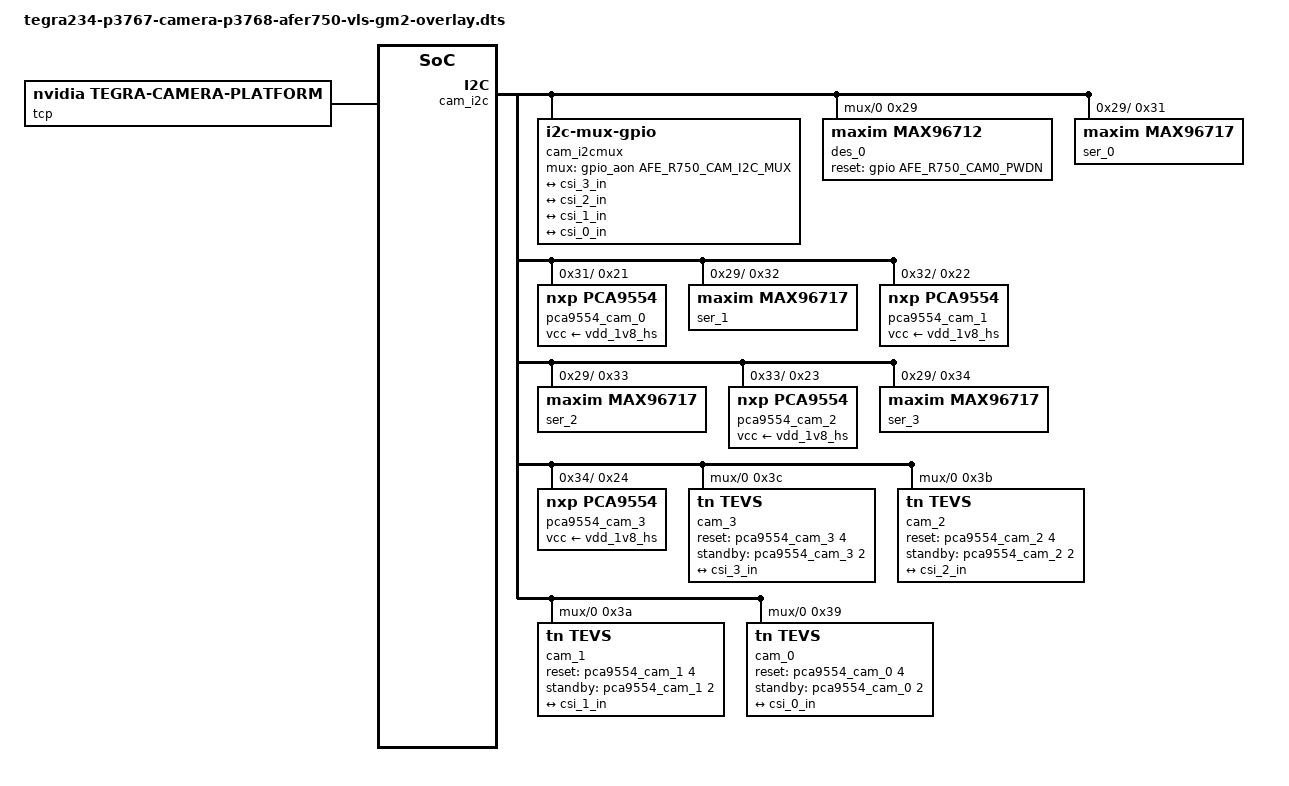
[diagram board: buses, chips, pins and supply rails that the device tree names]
// SPDX-License-Identifier: GPL-2.0-only
// SPDX-FileCopyrightText: Copyright (c) 2026, TechNexion Ltd. All rights reserved.

/dts-v1/;
/plugin/;

#include <dt-bindings/tegra234-p3767-0000-common.h>

#define AFE_R750_CAM0_PWDN		TEGRA234_MAIN_GPIO(H, 6)
#define AFE_R750_CAM_I2C_MUX		TEGRA234_AON_GPIO(CC, 3)

#define AFE_R750_CAM_NUM		4
#define AFE_R750_CAM_LANES		2
#define AFE_R750_CAM_LANES_STR		"2"
#define AFE_R750_SENSOR_LANES		4
#define AFE_R750_SENSOR_LANES_STR	"4"

#define AFE_R750_DAX_PORT		0
#define AFE_R750_DAX_SINTERFACE	"serial_a"
#define AFE_R750_DAX_DES_PHY_ID	0
#define AFE_R750_DAX_LANE_POLARITY	"6"
#define AFE_R750_DBX_PORT		2
#define AFE_R750_DBX_SINTERFACE	"serial_c"
#define AFE_R750_DBX_DES_PHY_ID	1
#define AFE_R750_DBX_LANE_POLARITY	"0"
#define AFE_R750_TOTAL_CSI_LANES	4

#define AFE_R750_DES_LINK_FREQ		1000000000
#define AFE_R750_TEVS_LINK_FREQ		280000000

#define AFE_R750_TEVS_MODE_COMMON(SINTERFACE, LANE_POLARITY)		\
	mclk_khz = "24000";						\
	num_lanes = AFE_R750_CAM_LANES_STR;				\
	tegra_sinterface = SINTERFACE;					\
	lane_polarity = LANE_POLARITY;					\
	phy_mode = "DPHY";						\
	discontinuous_clk = "yes";					\
	dpcm_enable = "false";						\
	cil_settletime = "0";						\
	mode_type = "yuv";						\
	pixel_phase = "uyvy";						\
	csi_pixel_bit_depth = "16";					\
	readout_orientation = "90";					\
	line_length = "3448";						\
	inherent_gain = "1";						\
	mclk_multiplier = "9.33";					\
	pix_clk_hz = "140000000";					\
	serdes_pix_clk_hz = "250000000";				\
	gain_factor = "16";						\
	framerate_factor = "1000000";					\
	exposure_factor = "1000000";					\
	min_gain_val = "16";						\
	max_gain_val = "170";						\
	step_gain_val = "1";						\
	default_gain = "16";						\
	min_hdr_ratio = "1";						\
	max_hdr_ratio = "1";						\
	min_framerate = "2000000";					\
	step_framerate = "1";						\
	min_exp_time = "13";						\
	max_exp_time = "683709";					\
	step_exp_time = "1";						\
	default_exp_time = "2495";					\
	embedded_metadata_height = "0";

#define AFE_R750_TEVS_MODES(SINTERFACE, LANE_POLARITY)			\
	mode0 {								\
		AFE_R750_TEVS_MODE_COMMON(SINTERFACE, LANE_POLARITY)	\
		active_w = "3280";					\
		active_h = "2464";					\
		max_framerate = "21000000";				\
		default_framerate = "21000000";				\
	};								\
	mode1 {								\
		AFE_R750_TEVS_MODE_COMMON(SINTERFACE, LANE_POLARITY)	\
		active_w = "3280";					\
		active_h = "1848";					\
		max_framerate = "28000000";				\
		default_framerate = "28000000";				\
	};								\
	mode2 {								\
		AFE_R750_TEVS_MODE_COMMON(SINTERFACE, LANE_POLARITY)	\
		active_w = "1920";					\
		active_h = "1080";					\
		max_framerate = "30000000";				\
		default_framerate = "30000000";				\
	};								\
	mode3 {								\
		AFE_R750_TEVS_MODE_COMMON(SINTERFACE, LANE_POLARITY)	\
		active_w = "1640";					\
		active_h = "1232";					\
		max_framerate = "30000000";				\
		default_framerate = "30000000";				\
	};								\
	mode4 {								\
		AFE_R750_TEVS_MODE_COMMON(SINTERFACE, LANE_POLARITY)	\
		active_w = "1280";					\
		active_h = "720";					\
		max_framerate = "60000000";				\
		default_framerate = "60000000";				\
	};								\
	mode5 {								\
		AFE_R750_TEVS_MODE_COMMON(SINTERFACE, LANE_POLARITY)	\
		active_w = "640";					\
		active_h = "480";					\
		max_framerate = "60000000";				\
		default_framerate = "60000000";				\
	};

/ {
	overlay-name = "TechNexion AFE-R750 VLS-GM2 Camera";
	jetson-header-name = "Jetson 24pin CSI Connector";
	compatible = JETSON_COMPATIBLE_P3768;

	fragment-camera-tevs@0 {
		target-path = "/";
		__overlay__ {
			tegra-capture-vi {
				num-channels = <AFE_R750_CAM_NUM>;
				ports {
					#address-cells = <1>;
					#size-cells = <0>;

					vi_port0: port@0 {
						reg = <0>;

						vi_in0: endpoint {
							vc-id = <0>;
							port-index = <AFE_R750_DAX_PORT>;
							bus-width = <AFE_R750_CAM_LANES>;
							remote-endpoint = <&csi_0_out>;
						};
					};

					vi_port1: port@1 {
						reg = <1>;

						vi_in1: endpoint {
							vc-id = <1>;
							port-index = <AFE_R750_DAX_PORT>;
							bus-width = <AFE_R750_CAM_LANES>;
							remote-endpoint = <&csi_1_out>;
						};
					};

					vi_port2: port@2 {
						reg = <2>;

						vi_in2: endpoint {
							vc-id = <0>;
							port-index = <AFE_R750_DBX_PORT>;
							bus-width = <AFE_R750_CAM_LANES>;
							remote-endpoint = <&csi_2_out>;
						};
					};

					vi_port3: port@3 {
						reg = <3>;

						vi_in3: endpoint {
							vc-id = <1>;
							port-index = <AFE_R750_DBX_PORT>;
							bus-width = <AFE_R750_CAM_LANES>;
							remote-endpoint = <&csi_3_out>;
						};
					};
				};
			};

			tcp: tegra-camera-platform {
				compatible = "nvidia, tegra-camera-platform";

				num_csi_lanes = <AFE_R750_TOTAL_CSI_LANES>;
				max_lane_speed = <1500000>;
				min_bits_per_pixel = <16>;
				vi_peak_byte_per_pixel = <2>;
				vi_bw_margin_pct = <25>;

				modules {
					cam_module0: module0 {
						badge = "afer750_front_RBP194";
						position = "front";
						orientation = "1";
						cam_module0_drivernode0: drivernode0 {
							pcl_id = "v4l2_sensor";
							sysfs-device-tree = "/sys/firmware/devicetree/base/bus@0/cam_i2cmux/i2c@0/rpi22_tevs_a@39";
						};
					};

					cam_module1: module1 {
						badge = "afer750_front_RBP194";
						position = "front";
						orientation = "1";
						cam_module1_drivernode0: drivernode0 {
							pcl_id = "v4l2_sensor";
							sysfs-device-tree = "/sys/firmware/devicetree/base/bus@0/cam_i2cmux/i2c@0/rpi22_tevs_b@3a";
						};
					};

					cam_module2: module2 {
						badge = "afer750_front_RBP194";
						position = "front";
						orientation = "1";
						cam_module2_drivernode0: drivernode0 {
							pcl_id = "v4l2_sensor";
							sysfs-device-tree = "/sys/firmware/devicetree/base/bus@0/cam_i2cmux/i2c@0/rpi22_tevs_c@3b";
						};
					};

					cam_module3: module3 {
						badge = "afer750_front_RBP194";
						position = "front";
						orientation = "1";
						cam_module3_drivernode0: drivernode0 {
							pcl_id = "v4l2_sensor";
							sysfs-device-tree = "/sys/firmware/devicetree/base/bus@0/cam_i2cmux/i2c@0/rpi22_tevs_d@3c";
						};
					};
				};
			};

			bus@0 {
				host1x@13e00000 {
					nvcsi@15a00000 {
						#address-cells = <1>;
						#size-cells = <0>;

						num-channels = <AFE_R750_CAM_NUM>;

						channel@0 {
							reg = <0>;
							ports {
								#address-cells = <1>;
								#size-cells = <0>;

								port@0 {
									reg = <0>;

									csi_0_in: endpoint@0 {
										port-index = <AFE_R750_DAX_PORT>;
										bus-width = <AFE_R750_CAM_LANES>;
										remote-endpoint = <&rpi22_tevs_0_out>;
									};
								};

								port@1 {
									reg = <1>;

									csi_0_out: endpoint@1 {
										remote-endpoint = <&vi_in0>;
									};
								};
							};
						};

						channel@1 {
							reg = <1>;
							ports {
								#address-cells = <1>;
								#size-cells = <0>;

								port@0 {
									reg = <0>;

									csi_1_in: endpoint@2 {
										port-index = <AFE_R750_DAX_PORT>;
										bus-width = <AFE_R750_CAM_LANES>;
										remote-endpoint = <&rpi22_tevs_1_out>;
									};
								};

								port@1 {
									reg = <1>;

									csi_1_out: endpoint@3 {
										remote-endpoint = <&vi_in1>;
									};
								};
							};
						};

						channel@2 {
							reg = <2>;
							ports {
								#address-cells = <1>;
								#size-cells = <0>;

								port@0 {
									reg = <0>;

									csi_2_in: endpoint@4 {
										port-index = <AFE_R750_DBX_PORT>;
										bus-width = <AFE_R750_CAM_LANES>;
										remote-endpoint = <&rpi22_tevs_2_out>;
									};
								};

								port@1 {
									reg = <1>;

									csi_2_out: endpoint@5 {
										remote-endpoint = <&vi_in2>;
									};
								};
							};
						};

						channel@3 {
							reg = <3>;
							ports {
								#address-cells = <1>;
								#size-cells = <0>;

								port@0 {
									reg = <0>;

									csi_3_in: endpoint@6 {
										port-index = <AFE_R750_DBX_PORT>;
										bus-width = <AFE_R750_CAM_LANES>;
										remote-endpoint = <&rpi22_tevs_3_out>;
									};
								};

								port@1 {
									reg = <1>;

									csi_3_out: endpoint@7 {
										remote-endpoint = <&vi_in3>;
									};
								};
							};
						};
					};
				};

				gpio@2200000 {
					camera-control-output-low {
						status = "disabled";
						gpio-hog;
						output-low;
					};
				};

				cam_i2cmux {
					#address-cells = <1>;
					#size-cells = <0>;

					status = "okay";
					compatible = "i2c-mux-gpio";
					i2c-parent = <&cam_i2c>;
					mux-gpios = <&gpio_aon AFE_R750_CAM_I2C_MUX GPIO_ACTIVE_HIGH>;

					cam_i2c_0: i2c@0 {
						#address-cells = <1>;
						#size-cells = <0>;

						reg = <0>;
						status = "okay";

						rbpcv2_imx219_a@10 {
							status = "disabled";
						};
					};

					cam_i2c_1: i2c@1 {
						#address-cells = <1>;
						#size-cells = <0>;

						reg = <1>;
						status = "disabled";

						rbpcv2_imx219_c@10 {
							status = "disabled";
						};
					};
				};
			};
		};
	};
};

&cam_i2c_0 {
	des_0: max96712_a@29 {
		#address-cells = <1>;
		#size-cells = <0>;

		compatible = "maxim,max96712";
		reg = <0x29>;
		status = "okay";

		reset-gpios = <&gpio AFE_R750_CAM0_PWDN GPIO_ACTIVE_HIGH>;

		i2c-addr-alias-map-local = <0x31 0x32 0x33 0x34>;
		i2c-addr-alias-map-remote = <0x40 0x40 0x40 0x40>;
		i2c-addr-alias-source-id = <0 0 0 0>;

		gpio-controller;
		#gpio-cells = <2>;
		gpio-ranges = <&des_0 0 0 9>;

		i2c-mux {
			#address-cells = <1>;
			#size-cells = <0>;

			compatible = "i2c-mux-gpio";
			i2c-parent = <&cam_i2c>;
			mux-gpios = <&gpio_aon AFE_R750_CAM_I2C_MUX GPIO_ACTIVE_HIGH>;

			des_0_i2c_0: i2c@0 {
				#address-cells = <1>;
				#size-cells = <0>;

				reg = <0>;
				status = "okay";
			};

			des_0_i2c_1: i2c@1 {
				#address-cells = <1>;
				#size-cells = <0>;

				reg = <1>;
				status = "okay";
			};

			des_0_i2c_2: i2c@2 {
				#address-cells = <1>;
				#size-cells = <0>;

				reg = <2>;
				status = "okay";
			};

			des_0_i2c_3: i2c@3 {
				#address-cells = <1>;
				#size-cells = <0>;

				reg = <3>;
				status = "okay";
			};
		};

		phy@0 {
			reg = <0>;
		};

		phy@1 {
			reg = <1>;
		};

		pipe@0 {
			reg = <0>;

			maxim,link-id = <0>;
			maxim,phy-id = <AFE_R750_DAX_DES_PHY_ID>;
			maxim,stream-id = <0>;
		};

		pipe@1 {
			reg = <1>;

			maxim,link-id = <1>;
			maxim,phy-id = <AFE_R750_DAX_DES_PHY_ID>;
			maxim,stream-id = <1>;
		};

		pipe@2 {
			reg = <2>;

			maxim,link-id = <2>;
			maxim,phy-id = <AFE_R750_DBX_DES_PHY_ID>;
			maxim,stream-id = <2>;
		};

		pipe@3 {
			reg = <3>;

			maxim,link-id = <3>;
			maxim,phy-id = <AFE_R750_DBX_DES_PHY_ID>;
			maxim,stream-id = <3>;
		};

		channel@0 {
			reg = <0>;
			label = "des_0_ch_0";

			maxim,pipe-id = <0>;
			maxim,phy-id = <AFE_R750_DAX_DES_PHY_ID>;
			maxim,src-vc-id = <0>;
			maxim,dst-vc-id = <0>;

			clock-lanes = <0>;
			data-lanes = <1 2>;
			link-frequencies = /bits/ 64 <AFE_R750_DES_LINK_FREQ>;
		};

		channel@1 {
			reg = <1>;
			label = "des_0_ch_1";

			maxim,pipe-id = <1>;
			maxim,phy-id = <AFE_R750_DAX_DES_PHY_ID>;
			maxim,src-vc-id = <0>;
			maxim,dst-vc-id = <1>;

			clock-lanes = <0>;
			data-lanes = <1 2>;
			link-frequencies = /bits/ 64 <AFE_R750_DES_LINK_FREQ>;
		};

		channel@2 {
			reg = <2>;
			label = "des_0_ch_2";

			maxim,pipe-id = <2>;
			maxim,phy-id = <AFE_R750_DBX_DES_PHY_ID>;
			maxim,src-vc-id = <0>;
			maxim,dst-vc-id = <0>;

			clock-lanes = <0>;
			data-lanes = <1 2>;
			link-frequencies = /bits/ 64 <AFE_R750_DES_LINK_FREQ>;
		};

		channel@3 {
			reg = <3>;
			label = "des_0_ch_3";

			maxim,pipe-id = <3>;
			maxim,phy-id = <AFE_R750_DBX_DES_PHY_ID>;
			maxim,src-vc-id = <0>;
			maxim,dst-vc-id = <1>;

			clock-lanes = <0>;
			data-lanes = <1 2>;
			link-frequencies = /bits/ 64 <AFE_R750_DES_LINK_FREQ>;
		};
	};

	cam_3: rpi22_tevs_d@3c {
		compatible = "tn,tevs";
		reg = <0x3c>;
		status = "okay";

		reset-gpios = <&pca9554_cam_3 4 GPIO_ACTIVE_HIGH>;
		standby-gpios = <&pca9554_cam_3 2 GPIO_ACTIVE_HIGH>;

		devnode = "video3";
		physical_w = "3.680";
		physical_h = "2.760";
		sensor_model = "tevs";
		use_sensor_mode_id = "false";

		AFE_R750_TEVS_MODES(AFE_R750_DBX_SINTERFACE, AFE_R750_DBX_LANE_POLARITY)

		ports {
			#address-cells = <1>;
			#size-cells = <0>;
			port@0 {
				reg = <0>;

				rpi22_tevs_3_out: endpoint {
					port-index = <AFE_R750_DBX_PORT>;
					bus-width = <AFE_R750_SENSOR_LANES>;
					remote-endpoint = <&csi_3_in>;
					clock-noncontinuous;
					link-frequencies = /bits/ 64 <AFE_R750_TEVS_LINK_FREQ>;
				};
			};
		};
	};

	cam_2: rpi22_tevs_c@3b {
		compatible = "tn,tevs";
		reg = <0x3b>;
		status = "okay";

		reset-gpios = <&pca9554_cam_2 4 GPIO_ACTIVE_HIGH>;
		standby-gpios = <&pca9554_cam_2 2 GPIO_ACTIVE_HIGH>;

		devnode = "video2";
		physical_w = "3.680";
		physical_h = "2.760";
		sensor_model = "tevs";
		use_sensor_mode_id = "false";

		AFE_R750_TEVS_MODES(AFE_R750_DBX_SINTERFACE, AFE_R750_DBX_LANE_POLARITY)

		ports {
			#address-cells = <1>;
			#size-cells = <0>;
			port@0 {
				reg = <0>;

				rpi22_tevs_2_out: endpoint {
					port-index = <AFE_R750_DBX_PORT>;
					bus-width = <AFE_R750_SENSOR_LANES>;
					remote-endpoint = <&csi_2_in>;
					clock-noncontinuous;
					link-frequencies = /bits/ 64 <AFE_R750_TEVS_LINK_FREQ>;
				};
			};
		};
	};

	cam_1: rpi22_tevs_b@3a {
		compatible = "tn,tevs";
		reg = <0x3a>;
		status = "okay";

		reset-gpios = <&pca9554_cam_1 4 GPIO_ACTIVE_HIGH>;
		standby-gpios = <&pca9554_cam_1 2 GPIO_ACTIVE_HIGH>;

		devnode = "video1";
		physical_w = "3.680";
		physical_h = "2.760";
		sensor_model = "tevs";
		use_sensor_mode_id = "false";

		AFE_R750_TEVS_MODES(AFE_R750_DAX_SINTERFACE, AFE_R750_DAX_LANE_POLARITY)

		ports {
			#address-cells = <1>;
			#size-cells = <0>;
			port@0 {
				reg = <0>;

				rpi22_tevs_1_out: endpoint {
					port-index = <AFE_R750_DAX_PORT>;
					bus-width = <AFE_R750_SENSOR_LANES>;
					remote-endpoint = <&csi_1_in>;
					clock-noncontinuous;
					link-frequencies = /bits/ 64 <AFE_R750_TEVS_LINK_FREQ>;
				};
			};
		};
	};

	cam_0: rpi22_tevs_a@39 {
		compatible = "tn,tevs";
		reg = <0x39>;
		status = "okay";

		reset-gpios = <&pca9554_cam_0 4 GPIO_ACTIVE_HIGH>;
		standby-gpios = <&pca9554_cam_0 2 GPIO_ACTIVE_HIGH>;

		devnode = "video0";
		physical_w = "3.680";
		physical_h = "2.760";
		sensor_model = "tevs";
		use_sensor_mode_id = "false";

		AFE_R750_TEVS_MODES(AFE_R750_DAX_SINTERFACE, AFE_R750_DAX_LANE_POLARITY)

		ports {
			#address-cells = <1>;
			#size-cells = <0>;
			port@0 {
				reg = <0>;

				rpi22_tevs_0_out: endpoint {
					port-index = <AFE_R750_DAX_PORT>;
					bus-width = <AFE_R750_SENSOR_LANES>;
					remote-endpoint = <&csi_0_in>;
					clock-noncontinuous;
					link-frequencies = /bits/ 64 <AFE_R750_TEVS_LINK_FREQ>;
				};
			};
		};
	};
};

&des_0_i2c_0 {
	ser_0: max96717_a@31 {
		#address-cells = <1>;
		#size-cells = <0>;

		compatible = "maxim,max96717";
		reg = <0x31>;
		status = "okay";

		i2c-addr-alias-map-local = <0x39 0x21>;
		i2c-addr-alias-map-remote = <0x48 0x25>;

		gpio-controller;
		#gpio-cells = <2>;
		gpio-ranges = <&ser_0 0 0 11>;

		pinctrl-names = "default";
		pinctrl-0 = <&ser_0_pinmux_default>;

		ser_0_pinmux_default: pinmux {
			mfp0_fsync {
				pins = "mfp0";
				function = "gpio";
				maxim,gmsl-rx = <1>;
				maxim,gmsl-rx-id = <0>;
				output-enable;
				output-low;
			};
		};

		i2c-mux {
			#address-cells = <1>;
			#size-cells = <0>;

			compatible = "i2c-mux-gpio";
			i2c-parent = <&cam_i2c>;
			mux-gpios = <&gpio_aon AFE_R750_CAM_I2C_MUX GPIO_ACTIVE_HIGH>;

			ser_0_i2c_0: i2c@0 {
				#address-cells = <1>;
				#size-cells = <0>;

				reg = <0>;
				status = "okay";
			};
		};

		pipe@0 {
			reg = <0>;

			maxim,stream-id = <0>;
		};

		channel@0 {
			reg = <0>;
			label = "ser_0_ch_0";

			maxim,pipe-id = <0>;
			maxim,vc-id = <0>;

			clock-lanes = <0>;
			data-lanes = <1 2 3 4>;
			clock-noncontinuous;
		};
	};
};

&ser_0_i2c_0 {
	pca9554_cam_0: pca9554@21 {
		compatible = "nxp,pca9554";
		reg = <0x21>;
		gpio-controller;
		#gpio-cells = <2>;
		gpio-line-names = "EXPOSURE_TRIG_IN",
				  "FLASH_OUT",
				  "INFO_TRIG_IN",
				  "CAMA_SHUTTER",
				  "CSI_P1_nRST",
				  "PWR_TIME0",
				  "PWR_TIME1",
				  "3V3_EN";
		vcc-supply = <&vdd_1v8_hs>;
		vcc_lp = "vcc";
		status = "okay";
	};
};

&des_0_i2c_1 {
	ser_1: max96717_b@32 {
		#address-cells = <1>;
		#size-cells = <0>;

		compatible = "maxim,max96717";
		reg = <0x32>;
		status = "okay";

		i2c-addr-alias-map-local = <0x3a 0x22>;
		i2c-addr-alias-map-remote = <0x48 0x25>;

		gpio-controller;
		#gpio-cells = <2>;
		gpio-ranges = <&ser_1 0 0 11>;

		pinctrl-names = "default";
		pinctrl-0 = <&ser_1_pinmux_default>;

		ser_1_pinmux_default: pinmux {
			mfp0_fsync {
				pins = "mfp0";
				function = "gpio";
				maxim,gmsl-rx = <1>;
				maxim,gmsl-rx-id = <0>;
				output-enable;
				output-low;
			};
		};

		i2c-mux {
			#address-cells = <1>;
			#size-cells = <0>;

			compatible = "i2c-mux-gpio";
			i2c-parent = <&cam_i2c>;
			mux-gpios = <&gpio_aon AFE_R750_CAM_I2C_MUX GPIO_ACTIVE_HIGH>;

			ser_1_i2c_0: i2c@0 {
				#address-cells = <1>;
				#size-cells = <0>;

				reg = <0>;
				status = "okay";
			};
		};

		pipe@0 {
			reg = <0>;

			maxim,stream-id = <1>;
		};

		channel@0 {
			reg = <0>;
			label = "ser_1_ch_0";

			maxim,pipe-id = <0>;
			maxim,vc-id = <0>;

			clock-lanes = <0>;
			data-lanes = <1 2 3 4>;
			clock-noncontinuous;
		};
	};
};

&ser_1_i2c_0 {
	pca9554_cam_1: pca9554@22 {
		compatible = "nxp,pca9554";
		reg = <0x22>;
		gpio-controller;
		#gpio-cells = <2>;
		gpio-line-names = "EXPOSURE_TRIG_IN",
				  "FLASH_OUT",
				  "INFO_TRIG_IN",
				  "CAMA_SHUTTER",
				  "CSI_P1_nRST",
				  "PWR_TIME0",
				  "PWR_TIME1",
				  "3V3_EN";
		vcc-supply = <&vdd_1v8_hs>;
		vcc_lp = "vcc";
		status = "okay";
	};
};

&des_0_i2c_2 {
	ser_2: max96717_c@33 {
		#address-cells = <1>;
		#size-cells = <0>;

		compatible = "maxim,max96717";
		reg = <0x33>;
		status = "okay";

		i2c-addr-alias-map-local = <0x3b 0x23>;
		i2c-addr-alias-map-remote = <0x48 0x25>;

		gpio-controller;
		#gpio-cells = <2>;
		gpio-ranges = <&ser_2 0 0 11>;

		pinctrl-names = "default";
		pinctrl-0 = <&ser_2_pinmux_default>;

		ser_2_pinmux_default: pinmux {
			mfp0_fsync {
				pins = "mfp0";
				function = "gpio";
				maxim,gmsl-rx = <1>;
				maxim,gmsl-rx-id = <0>;
				output-enable;
				output-low;
			};
		};

		i2c-mux {
			#address-cells = <1>;
			#size-cells = <0>;

			compatible = "i2c-mux-gpio";
			i2c-parent = <&cam_i2c>;
			mux-gpios = <&gpio_aon AFE_R750_CAM_I2C_MUX GPIO_ACTIVE_HIGH>;

			ser_2_i2c_0: i2c@0 {
				#address-cells = <1>;
				#size-cells = <0>;

				reg = <0>;
				status = "okay";
			};
		};

		pipe@0 {
			reg = <0>;

			maxim,stream-id = <2>;
		};

		channel@0 {
			reg = <0>;
			label = "ser_2_ch_0";

			maxim,pipe-id = <0>;
			maxim,vc-id = <0>;

			clock-lanes = <0>;
			data-lanes = <1 2 3 4>;
			clock-noncontinuous;
		};
	};
};

&ser_2_i2c_0 {
	pca9554_cam_2: pca9554@23 {
		compatible = "nxp,pca9554";
		reg = <0x23>;
		gpio-controller;
		#gpio-cells = <2>;
		gpio-line-names = "EXPOSURE_TRIG_IN",
				  "FLASH_OUT",
				  "INFO_TRIG_IN",
				  "CAMA_SHUTTER",
				  "CSI_P1_nRST",
				  "PWR_TIME0",
				  "PWR_TIME1",
				  "3V3_EN";
		vcc-supply = <&vdd_1v8_hs>;
		vcc_lp = "vcc";
		status = "okay";
	};
};

&des_0_i2c_3 {
	ser_3: max96717_d@34 {
		#address-cells = <1>;
		#size-cells = <0>;

		compatible = "maxim,max96717";
		reg = <0x34>;
		status = "okay";

		i2c-addr-alias-map-local = <0x3c 0x24>;
		i2c-addr-alias-map-remote = <0x48 0x25>;

		gpio-controller;
		#gpio-cells = <2>;
		gpio-ranges = <&ser_3 0 0 11>;

		pinctrl-names = "default";
		pinctrl-0 = <&ser_3_pinmux_default>;

		ser_3_pinmux_default: pinmux {
			mfp0_fsync {
				pins = "mfp0";
				function = "gpio";
				maxim,gmsl-rx = <1>;
				maxim,gmsl-rx-id = <0>;
				output-enable;
				output-low;
			};
		};

		i2c-mux {
			#address-cells = <1>;
			#size-cells = <0>;

			compatible = "i2c-mux-gpio";
			i2c-parent = <&cam_i2c>;
			mux-gpios = <&gpio_aon AFE_R750_CAM_I2C_MUX GPIO_ACTIVE_HIGH>;

			ser_3_i2c_0: i2c@0 {
				#address-cells = <1>;
				#size-cells = <0>;

				reg = <0>;
				status = "okay";
			};
		};

		pipe@0 {
			reg = <0>;

			maxim,stream-id = <3>;
		};

		channel@0 {
			reg = <0>;
			label = "ser_3_ch_0";

			maxim,pipe-id = <0>;
			maxim,vc-id = <0>;

			clock-lanes = <0>;
			data-lanes = <1 2 3 4>;
			clock-noncontinuous;
		};
	};
};

&ser_3_i2c_0 {
	pca9554_cam_3: pca9554@24 {
		compatible = "nxp,pca9554";
		reg = <0x24>;
		gpio-controller;
		#gpio-cells = <2>;
		gpio-line-names = "EXPOSURE_TRIG_IN",
				  "FLASH_OUT",
				  "INFO_TRIG_IN",
				  "CAMA_SHUTTER",
				  "CSI_P1_nRST",
				  "PWR_TIME0",
				  "PWR_TIME1",
				  "3V3_EN";
		vcc-supply = <&vdd_1v8_hs>;
		vcc_lp = "vcc";
		status = "okay";
	};
};
